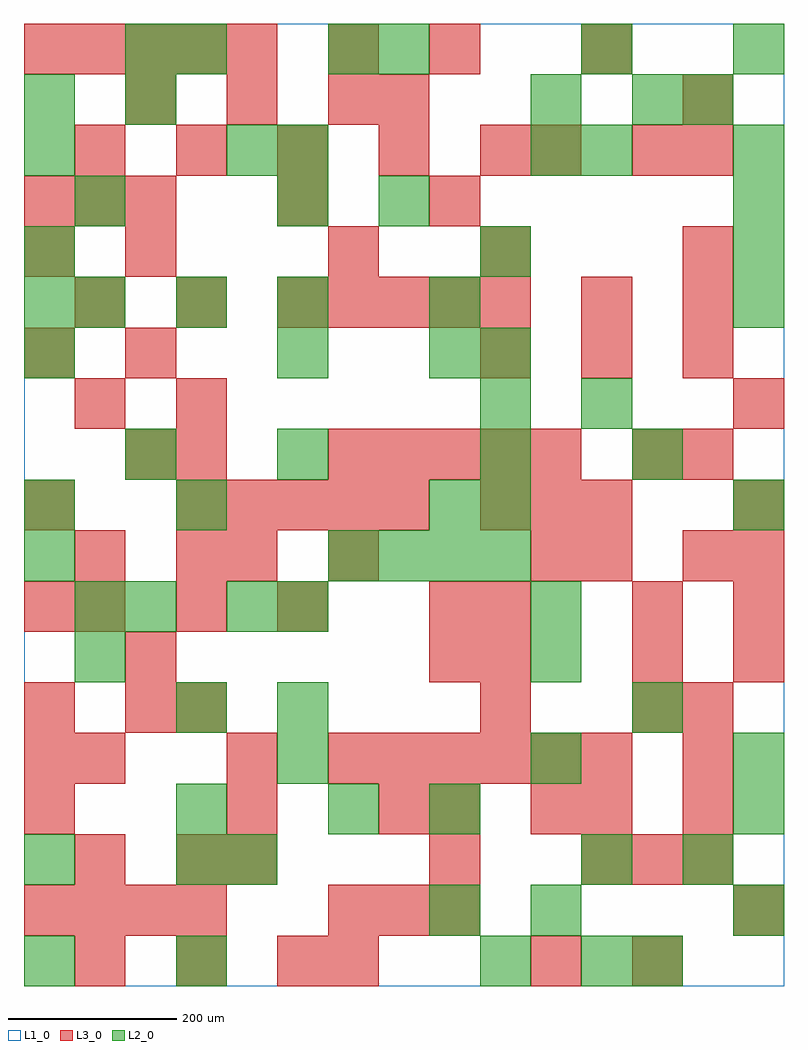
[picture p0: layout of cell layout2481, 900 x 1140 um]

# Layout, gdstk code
import gdstk
lib = gdstk.Library(unit=1e-6, precision=1e-09)
def R(c, l, rs):  # rectangles x0, y0, x1, y1
    for r in rs: c.add(gdstk.rectangle(r[:2], r[2:], *l))
def A(c, l, x, y, w, h, nx, ny, dx, dy):  # array of equal rectangles
    R(c, l, [(x+i*dx, y+j*dy, x+i*dx+w, y+j*dy+h) for i in range(nx) for j in range(ny)])
L1_0 = (1, 0)
L2_0 = (2, 0)
L3_0 = (3, 0)

layout2481 = lib.new_cell('layout2481')
R(layout2481, L1_0, [(0,0,900,1140)])
A(layout2481, L2_0, 720, 0, 60, 60, 1, 3, 0, 300)
A(layout2481, L2_0, 360, 480, 60, 60, 4, 1, 60, 0)
A(layout2481, L2_0, 540, 540, 60, 60, 1, 4, 0, 60)
A(layout2481, L2_0, 0, 720, 60, 60, 1, 3, 0, 60)
A(layout2481, L2_0, 60, 780, 60, 60, 3, 1, 120, 0)
A(layout2481, L2_0, 840, 780, 60, 60, 1, 4, 0, 60)
R(layout2481, L2_0, [(0,0,60,60), (180,0,240,60), (540,0,600,60), (660,0,720,60), (480,60,540,120), (600,60,660,120), (840,60,900,120), (0,120,60,180), (180,120,240,180), (240,120,300,180), (660,120,720,180), (780,120,840,180), (180,180,240,240), (360,180,420,240), (480,180,540,240), (840,180,900,240), (300,240,360,300), (600,240,660,300), (840,240,900,300), (180,300,240,360), (300,300,360,360), (60,360,120,420), (600,360,660,420), (60,420,120,480), (120,420,180,480), (240,420,300,480), (300,420,360,480), (600,420,660,480), (0,480,60,540), (0,540,60,600), (180,540,240,600), (480,540,540,600), (840,540,900,600), (120,600,180,660), (300,600,360,660), (660,660,720,720), (300,720,360,780), (480,720,540,780), (480,780,540,840), (540,840,600,900), (60,900,120,960), (300,900,360,960), (420,900,480,960), (0,960,60,1020), (240,960,300,1020), (300,960,360,1020), (600,960,660,1020), (660,960,720,1020), (0,1020,60,1080), (120,1020,180,1080), (600,1020,660,1080), (720,1020,780,1080), (780,1020,840,1080), (120,1080,180,1140), (180,1080,240,1140), (360,1080,420,1140), (420,1080,480,1140), (660,1080,720,1140), (840,1080,900,1140)])
A(layout2481, L3_0, 60, 0, 60, 60, 3, 2, 120, 420)
A(layout2481, L3_0, 0, 60, 60, 60, 4, 1, 60, 0)
A(layout2481, L3_0, 360, 60, 60, 60, 3, 1, 60, 0)
A(layout2481, L3_0, 180, 120, 60, 60, 1, 3, 0, 180)
A(layout2481, L3_0, 240, 120, 60, 60, 1, 3, 0, 60)
A(layout2481, L3_0, 660, 120, 60, 60, 3, 1, 60, 0)
A(layout2481, L3_0, 0, 180, 60, 60, 1, 3, 0, 60)
A(layout2481, L3_0, 660, 180, 60, 60, 1, 4, 0, 300)
A(layout2481, L3_0, 780, 180, 60, 60, 1, 3, 0, 60)
A(layout2481, L3_0, 360, 240, 60, 60, 6, 1, 60, 0)
A(layout2481, L3_0, 540, 300, 60, 60, 1, 3, 0, 60)
A(layout2481, L3_0, 720, 300, 60, 60, 1, 3, 0, 60)
A(layout2481, L3_0, 840, 360, 60, 60, 1, 4, 0, 60)
A(layout2481, L3_0, 180, 540, 60, 60, 5, 1, 60, 0)
A(layout2481, L3_0, 540, 540, 60, 60, 3, 1, 60, 0)
A(layout2481, L3_0, 120, 600, 60, 60, 1, 3, 0, 120)
A(layout2481, L3_0, 360, 600, 60, 60, 5, 1, 60, 0)
A(layout2481, L3_0, 540, 720, 60, 60, 3, 1, 120, 0)
A(layout2481, L3_0, 60, 780, 60, 60, 3, 1, 120, 0)
A(layout2481, L3_0, 360, 780, 60, 60, 4, 1, 60, 0)
A(layout2481, L3_0, 0, 900, 60, 60, 3, 1, 60, 0)
A(layout2481, L3_0, 60, 960, 60, 60, 5, 1, 120, 0)
A(layout2481, L3_0, 120, 1020, 60, 60, 3, 1, 120, 0)
A(layout2481, L3_0, 0, 1080, 60, 60, 5, 1, 60, 0)
R(layout2481, L3_0, [(360,0,420,60), (600,0,660,60), (720,0,780,60), (840,60,900,120), (60,120,120,180), (480,120,540,180), (420,180,480,240), (480,180,540,240), (600,180,660,240), (60,240,120,300), (120,300,180,360), (120,360,180,420), (480,360,540,420), (0,420,60,480), (480,420,540,480), (60,480,120,540), (240,480,300,540), (360,480,420,540), (600,480,660,540), (780,480,840,540), (0,540,60,600), (180,600,240,660), (720,600,780,660), (780,600,840,660), (60,660,120,720), (180,660,240,720), (840,660,900,720), (0,720,60,780), (780,780,840,840), (0,840,60,900), (360,840,420,900), (540,840,600,900), (780,840,840,900), (300,900,360,960), (480,900,540,960), (600,960,660,1020), (720,960,780,1020), (780,960,840,1020), (420,1020,480,1080), (780,1020,840,1080), (360,1080,420,1140), (480,1080,540,1140)])

lib.write_gds('layout2481.gds')
